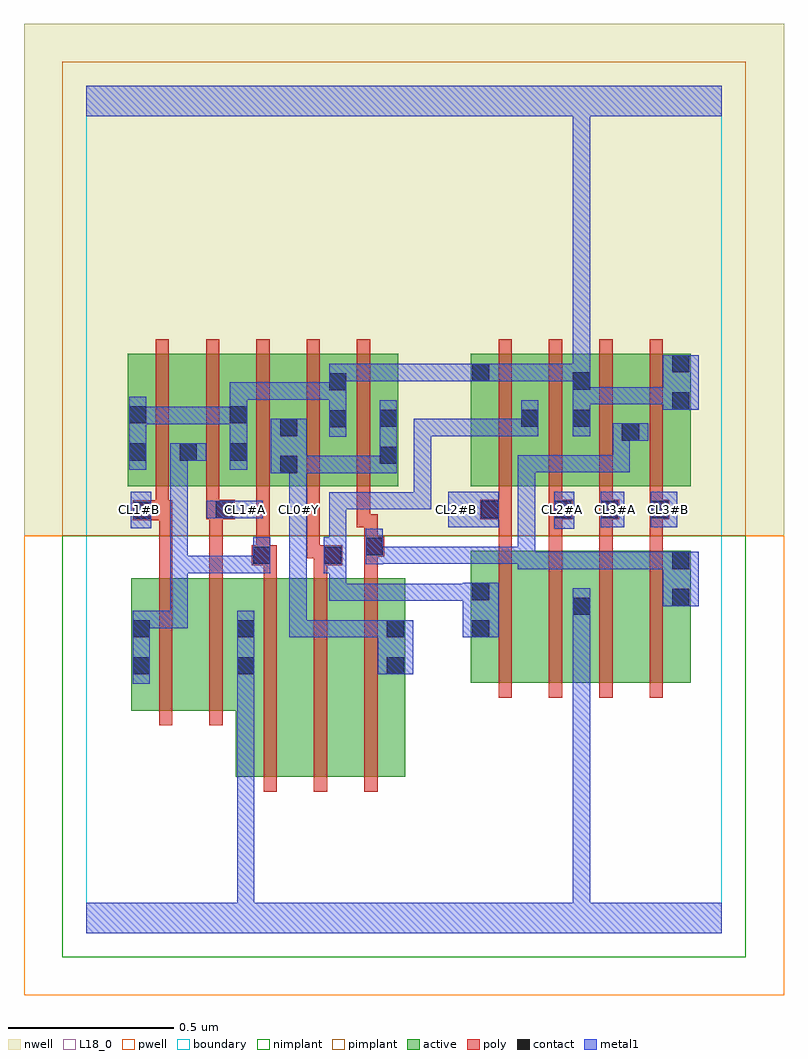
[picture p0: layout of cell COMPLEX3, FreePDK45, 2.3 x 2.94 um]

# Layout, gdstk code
import gdstk
lib = gdstk.Library(unit=1e-6, precision=1e-09)
def R(c, l, rs):  # rectangles x0, y0, x1, y1
    for r in rs: c.add(gdstk.rectangle(r[:2], r[2:], *l))
def A(c, l, x, y, w, h, nx, ny, dx, dy):  # array of equal rectangles
    R(c, l, [(x+i*dx, y+j*dy, x+i*dx+w, y+j*dy+h) for i in range(nx) for j in range(ny)])
active = (1, 0)
pwell = (2, 0)
nwell = (3, 0)
nimplant = (4, 0)
pimplant = (5, 0)
poly = (9, 0)
contact = (10, 0)
metal1 = (11, 0)
L18_0 = (18, 0)
boundary = (235, 0)

complex3 = lib.new_cell('COMPLEX3')
A(complex3, active, 0.126, 1.35, 0.212, 0.4, 3, 1, 0.152, 0)
A(complex3, active, 0.126, 1.35, 0.06, 0.294, 4, 1, 0.152, 0)
R(complex3, active, [(0.452,0.472,0.632,1.072), (0.632,0.472,0.784,1.072), (0.784,0.472,0.964,1.072), (0.904,0.556,0.964,1.072), (0.136,0.672,0.316,1.072), (0.316,0.672,0.512,1.072), (0.452,0.69,0.512,1.072), (0.136,0.756,0.196,1.072), (1.162,0.756,1.222,1.156), (1.162,0.756,1.342,1.156), (1.342,0.756,1.526,1.156), (1.466,0.756,1.526,1.156), (1.466,0.756,1.646,1.156), (1.646,0.756,1.826,1.156), (1.766,0.756,1.826,1.156), (0.582,1.35,0.79,1.75), (0.73,1.35,0.79,1.75), (0.73,1.35,0.942,1.75), (0.882,1.35,0.942,1.644), (1.162,1.35,1.222,1.75), (1.162,1.35,1.37,1.75), (1.31,1.35,1.37,1.644), (1.31,1.35,1.526,1.75), (1.466,1.35,1.674,1.75), (1.466,1.35,1.526,1.698), (1.614,1.35,1.826,1.75), (1.614,1.35,1.674,1.644), (1.766,1.35,1.826,1.75)])
R(complex3, pwell, [(-0.188,-0.188,2.108,1.2)])
R(complex3, nwell, [(-0.188,1.2,2.108,2.748)])
R(complex3, nimplant, [(-0.072,-0.072,1.992,1.2)])
R(complex3, pimplant, [(-0.072,1.2,1.992,2.632)])
A(complex3, poly, 0.536, 0.428, 0.04, 0.688, 3, 1, 0.152, 0)
A(complex3, poly, 1.246, 0.712, 0.04, 0.488, 4, 2, 0.152, 0.594)
A(complex3, poly, 1.246, 1.16, 0.04, 0.13, 4, 1, 0.152, 0)
A(complex3, poly, 1.246, 1.27, 0.04, 0.076, 4, 1, 0.152, 0)
A(complex3, poly, 0.21, 1.306, 0.04, 0.488, 5, 1, 0.152, 0)
R(complex3, poly, [(0.22,0.628,0.26,1.116), (0.372,0.628,0.412,1.116), (0.22,1.076,0.26,1.288), (0.372,1.076,0.412,1.29), (0.536,1.076,0.576,1.152), (0.688,1.076,0.728,1.152), (0.84,1.076,0.88,1.178), (0.5,1.112,0.576,1.172), (0.688,1.112,0.774,1.172), (0.514,1.132,0.554,1.172), (0.514,1.132,0.554,1.172), (0.514,1.132,0.554,1.346), (0.666,1.132,0.728,1.172), (0.666,1.132,0.706,1.346), (0.688,1.132,0.728,1.172), (0.84,1.138,0.9,1.198), (0.84,1.158,0.88,1.266), (0.818,1.226,0.858,1.346), (0.818,1.226,0.88,1.266), (0.14,1.248,0.26,1.308), (0.362,1.25,0.448,1.31), (0.372,1.25,0.412,1.29), (0.372,1.25,0.412,1.29), (1.19,1.25,1.286,1.31), (1.246,1.25,1.286,1.29), (1.246,1.25,1.286,1.29), (1.398,1.25,1.47,1.31), (1.55,1.25,1.61,1.31), (1.702,1.25,1.742,1.29), (1.702,1.25,1.742,1.29), (1.702,1.25,1.762,1.31), (0.21,1.268,0.25,1.308), (0.21,1.268,0.25,1.308), (0.21,1.268,0.25,1.346), (0.362,1.27,0.402,1.346), (1.398,1.27,1.438,1.31), (1.398,1.27,1.438,1.31), (1.55,1.27,1.59,1.31), (1.55,1.27,1.59,1.31)])
A(complex3, contact, 0.13, 1.428, 0.052, 0.052, 3, 1, 0.152, 0)
R(complex3, contact, [(0.14,0.782,0.192,0.834), (0.456,0.782,0.508,0.834), (0.908,0.782,0.96,0.834), (0.14,0.894,0.192,0.946), (0.456,0.894,0.508,0.946), (0.908,0.894,0.96,0.946), (1.166,0.894,1.218,0.946), (1.47,0.962,1.522,1.014), (1.77,0.988,1.822,1.04), (1.166,1.006,1.218,1.058), (1.77,1.1,1.822,1.152), (0.504,1.116,0.556,1.168), (0.718,1.116,0.77,1.168), (0.844,1.142,0.896,1.194), (0.144,1.252,0.196,1.304), (0.392,1.254,0.444,1.306), (1.194,1.254,1.246,1.306), (1.414,1.254,1.466,1.306), (1.554,1.254,1.606,1.306), (1.706,1.254,1.758,1.306), (0.586,1.39,0.638,1.442), (0.886,1.418,0.938,1.47), (1.618,1.488,1.67,1.54), (0.586,1.502,0.638,1.554), (0.734,1.528,0.786,1.58), (0.886,1.53,0.938,1.582), (1.314,1.53,1.366,1.582), (1.47,1.53,1.522,1.582), (0.13,1.54,0.182,1.592), (0.434,1.54,0.486,1.592), (1.77,1.582,1.822,1.634), (0.734,1.64,0.786,1.692), (1.47,1.642,1.522,1.694), (1.166,1.668,1.218,1.72), (1.77,1.694,1.822,1.746)])
R(complex3, metal1, [(0,0,1.92,0.092), (0.456,0.04,0.508,0.092), (0.456,0.04,0.508,0.092), (0.456,0.04,0.508,0.092), (0.456,0.04,0.508,0.092), (0.456,0.04,0.508,0.092), (0.456,0.04,0.508,0.092), (0.456,0.04,0.508,0.092), (0.456,0.04,0.508,0.092), (0.456,0.04,0.508,0.806), (1.47,0.04,1.522,0.092), (1.47,0.04,1.522,0.092), (1.47,0.04,1.522,0.092), (1.47,0.04,1.522,0.092), (1.47,0.04,1.522,0.092), (1.47,0.04,1.522,0.092), (1.47,0.04,1.522,0.092), (1.47,0.04,1.522,0.092), (1.47,0.04,1.522,0.092), (1.47,0.04,1.522,0.092), (1.47,0.04,1.522,0.092), (1.47,0.04,1.522,0.092), (1.47,0.04,1.522,0.986), (0.14,0.754,0.192,0.974), (0.456,0.754,0.508,0.974), (0.88,0.782,0.988,0.946), (0.614,0.894,0.666,0.946), (0.614,0.894,0.666,0.946), (0.614,0.894,0.666,0.946), (0.614,0.894,0.776,0.946), (0.614,0.894,0.666,1.278), (0.724,0.894,0.776,0.946), (0.724,0.894,0.776,0.946), (0.724,0.894,0.776,0.946), (0.724,0.894,0.932,0.946), (0.88,0.894,0.932,0.946), (0.88,0.894,0.932,0.946), (1.138,0.894,1.246,1.058), (0.14,0.922,0.192,0.974), (0.14,0.922,0.192,0.974), (0.14,0.922,0.306,0.974), (0.254,0.922,0.306,0.974), (0.254,0.922,0.306,1.14), (1.47,0.934,1.522,1.042), (1.742,0.988,1.85,1.152), (0.734,1.004,0.786,1.056), (0.734,1.004,0.896,1.056), (0.734,1.004,0.786,1.196), (0.844,1.004,0.896,1.056), (0.844,1.004,0.896,1.056), (0.844,1.004,0.896,1.056), (0.844,1.004,1.19,1.056), (0.254,1.088,0.306,1.14), (0.254,1.088,0.306,1.14), (0.254,1.088,0.306,1.14), (0.254,1.088,0.306,1.14), (0.254,1.088,0.306,1.14), (0.254,1.088,0.472,1.14), (0.254,1.088,0.306,1.48), (0.42,1.088,0.472,1.14), (0.42,1.088,0.556,1.14), (0.504,1.088,0.556,1.196), (0.718,1.088,0.77,1.196), (1.304,1.1,1.356,1.152), (1.304,1.1,1.412,1.152), (1.304,1.1,1.356,1.168), (1.36,1.1,1.412,1.152), (1.36,1.1,1.532,1.152), (1.48,1.1,1.532,1.152), (1.48,1.1,1.532,1.152), (1.48,1.1,1.532,1.152), (1.48,1.1,1.642,1.152), (1.59,1.1,1.642,1.152), (1.59,1.1,1.794,1.152), (1.742,1.1,1.794,1.152), (1.742,1.1,1.794,1.152), (0.844,1.114,0.896,1.222), (0.844,1.116,0.896,1.168), (0.844,1.116,0.896,1.168), (0.844,1.116,1.152,1.168), (1.1,1.116,1.152,1.168), (1.1,1.116,1.152,1.168), (1.1,1.116,1.152,1.168), (1.1,1.116,1.356,1.168), (1.304,1.116,1.356,1.168), (1.304,1.116,1.356,1.444), (0.718,1.144,0.786,1.196), (0.734,1.144,0.786,1.196), (0.734,1.144,0.786,1.332), (1.414,1.222,1.474,1.334), (0.134,1.224,0.196,1.334), (0.614,1.226,0.666,1.334), (1.094,1.226,1.246,1.334), (1.554,1.226,1.626,1.334), (1.706,1.226,1.786,1.334), (0.364,1.254,0.534,1.306), (0.734,1.28,0.786,1.332), (0.734,1.28,0.896,1.332), (0.844,1.28,0.896,1.332), (0.844,1.28,0.896,1.332), (0.844,1.28,0.896,1.332), (0.844,1.28,1.042,1.332), (0.99,1.28,1.042,1.332), (0.99,1.28,1.042,1.554), (0.614,1.282,0.666,1.334), (0.614,1.282,0.666,1.334), (0.614,1.282,0.666,1.442), (0.558,1.39,0.666,1.554), (0.614,1.39,0.666,1.442), (0.614,1.39,0.666,1.442), (0.614,1.39,0.786,1.442), (0.734,1.39,0.786,1.442), (0.734,1.39,0.932,1.442), (0.88,1.39,0.932,1.442), (0.88,1.39,0.938,1.442), (0.886,1.39,0.938,1.61), (1.304,1.392,1.356,1.444), (1.304,1.392,1.412,1.444), (1.36,1.392,1.412,1.444), (1.36,1.392,1.522,1.444), (1.47,1.392,1.522,1.444), (1.47,1.392,1.642,1.444), (1.59,1.392,1.642,1.444), (1.59,1.392,1.642,1.444), (1.59,1.392,1.642,1.444), (1.59,1.392,1.642,1.54), (0.13,1.4,0.182,1.62), (0.434,1.4,0.486,1.62), (0.254,1.428,0.362,1.48), (1.59,1.488,1.698,1.54), (0.734,1.5,0.786,1.72), (0.99,1.502,1.042,1.554), (0.99,1.502,1.302,1.554), (1.25,1.502,1.302,1.554), (1.25,1.502,1.366,1.554), (1.314,1.502,1.366,1.61), (1.47,1.502,1.522,1.722), (0.13,1.538,0.182,1.59), (0.13,1.538,0.182,1.59), (0.13,1.538,0.306,1.59), (0.254,1.538,0.306,1.59), (0.254,1.538,0.306,1.59), (0.254,1.538,0.306,1.59), (0.254,1.538,0.486,1.59), (0.434,1.568,0.486,1.62), (0.434,1.568,0.486,1.664), (1.742,1.582,1.85,1.746), (1.47,1.598,1.522,1.65), (1.47,1.598,1.522,1.65), (1.47,1.598,1.642,1.65), (1.59,1.598,1.642,1.65), (1.59,1.598,1.794,1.65), (1.742,1.598,1.794,1.65), (1.742,1.598,1.794,1.65), (0.434,1.612,0.666,1.664), (0.614,1.612,0.666,1.664), (0.614,1.612,0.786,1.664), (0.734,1.612,0.786,1.664), (0.734,1.612,0.786,1.664), (0.734,1.668,0.932,1.72), (0.88,1.668,0.932,1.72), (0.88,1.668,0.932,1.72), (0.88,1.668,0.932,1.72), (0.88,1.668,1.19,1.72), (1.138,1.668,1.246,1.72), (1.194,1.668,1.246,1.72), (1.194,1.668,1.246,1.72), (1.194,1.668,1.412,1.72), (1.36,1.668,1.412,1.72), (1.36,1.668,1.412,1.72), (1.36,1.668,1.412,1.72), (1.36,1.668,1.522,1.72), (1.47,1.67,1.522,1.722), (1.47,1.67,1.522,1.722), (1.47,1.67,1.522,1.722), (1.47,1.67,1.522,1.722), (1.47,1.67,1.522,1.722), (1.47,1.67,1.522,1.722), (1.47,1.67,1.522,1.722), (1.47,1.67,1.522,1.722), (1.47,1.67,1.522,1.722), (1.47,1.67,1.522,1.722), (1.47,1.67,1.522,1.722), (1.47,1.67,1.522,1.722), (1.47,1.67,1.522,1.722), (1.47,1.67,1.522,1.722), (1.47,1.67,1.522,1.722), (1.47,1.67,1.522,1.722), (1.47,1.67,1.522,2.52), (0,2.468,1.92,2.56)])
A(complex3, L18_0, 1.414, 1.254, 0.052, 0.052, 3, 1, 0.16, 0)
R(complex3, L18_0, [(0,0,1.92,0.092), (0.456,0.04,0.508,0.092), (0.456,0.04,0.508,0.092), (0.456,0.04,0.508,0.092), (0.456,0.04,0.508,0.092), (0.456,0.04,0.508,0.092), (0.456,0.04,0.508,0.092), (0.456,0.04,0.508,0.092), (0.456,0.04,0.508,0.092), (0.456,0.04,0.508,0.806), (1.47,0.04,1.522,0.092), (1.47,0.04,1.522,0.092), (1.47,0.04,1.522,0.092), (1.47,0.04,1.522,0.092), (1.47,0.04,1.522,0.092), (1.47,0.04,1.522,0.092), (1.47,0.04,1.522,0.092), (1.47,0.04,1.522,0.092), (1.47,0.04,1.522,0.092), (1.47,0.04,1.522,0.092), (1.47,0.04,1.522,0.092), (1.47,0.04,1.522,0.092), (1.47,0.04,1.522,0.986), (0.456,0.754,0.508,0.974), (0.88,0.782,0.988,0.946), (0.614,0.894,0.666,0.946), (0.614,0.894,0.666,0.946), (0.614,0.894,0.666,0.946), (0.614,0.894,0.666,1.278), (0.614,0.894,0.776,0.946), (0.724,0.894,0.776,0.946), (0.724,0.894,0.776,0.946), (0.724,0.894,0.776,0.946), (0.724,0.894,0.932,0.946), (0.88,0.894,0.932,0.946), (0.88,0.894,0.932,0.946), (1.47,0.934,1.522,1.042), (1.414,1.222,1.474,1.334), (0.134,1.224,0.196,1.334), (0.614,1.226,0.666,1.334), (1.094,1.226,1.246,1.334), (1.554,1.226,1.626,1.334), (1.706,1.226,1.786,1.334), (0.134,1.254,0.186,1.306), (0.364,1.254,0.534,1.306), (0.454,1.254,0.506,1.306), (0.614,1.254,0.666,1.306), (1.094,1.254,1.146,1.306), (0.614,1.282,0.666,1.334), (0.614,1.282,0.666,1.334), (0.614,1.282,0.666,1.442), (0.558,1.39,0.666,1.554), (0.614,1.39,0.666,1.442), (0.614,1.39,0.666,1.442), (0.614,1.39,0.786,1.442), (0.734,1.39,0.786,1.442), (0.734,1.39,0.932,1.442), (0.88,1.39,0.932,1.442), (0.88,1.39,0.938,1.442), (0.886,1.39,0.938,1.61), (0.13,1.4,0.182,1.62), (0.434,1.4,0.486,1.62), (0.734,1.5,0.786,1.72), (1.47,1.502,1.522,1.722), (0.13,1.538,0.182,1.59), (0.13,1.538,0.182,1.59), (0.13,1.538,0.306,1.59), (0.254,1.538,0.306,1.59), (0.254,1.538,0.306,1.59), (0.254,1.538,0.306,1.59), (0.254,1.538,0.486,1.59), (0.434,1.568,0.486,1.62), (0.434,1.568,0.486,1.664), (1.742,1.582,1.85,1.746), (1.47,1.598,1.522,1.65), (1.47,1.598,1.522,1.65), (1.47,1.598,1.642,1.65), (1.59,1.598,1.642,1.65), (1.59,1.598,1.794,1.65), (1.742,1.598,1.794,1.65), (1.742,1.598,1.794,1.65), (0.434,1.612,0.666,1.664), (0.614,1.612,0.666,1.664), (0.614,1.612,0.786,1.664), (0.734,1.612,0.786,1.664), (0.734,1.612,0.786,1.664), (0.734,1.668,0.932,1.72), (0.88,1.668,0.932,1.72), (0.88,1.668,0.932,1.72), (0.88,1.668,0.932,1.72), (0.88,1.668,1.19,1.72), (1.138,1.668,1.246,1.72), (1.194,1.668,1.246,1.72), (1.194,1.668,1.246,1.72), (1.194,1.668,1.412,1.72), (1.36,1.668,1.412,1.72), (1.36,1.668,1.412,1.72), (1.36,1.668,1.412,1.72), (1.36,1.668,1.522,1.72), (1.47,1.67,1.522,1.722), (1.47,1.67,1.522,1.722), (1.47,1.67,1.522,1.722), (1.47,1.67,1.522,1.722), (1.47,1.67,1.522,1.722), (1.47,1.67,1.522,1.722), (1.47,1.67,1.522,1.722), (1.47,1.67,1.522,1.722), (1.47,1.67,1.522,1.722), (1.47,1.67,1.522,1.722), (1.47,1.67,1.522,1.722), (1.47,1.67,1.522,1.722), (1.47,1.67,1.522,1.722), (1.47,1.67,1.522,1.722), (1.47,1.67,1.522,1.722), (1.47,1.67,1.522,1.722), (1.47,1.67,1.522,2.52), (0,2.468,1.92,2.56)])
R(complex3, boundary, [(0,0,1.92,2.56)])
complex3.add(gdstk.Label('CL0#Y', (0.64,1.28), layer=11, texttype=0))
complex3.add(gdstk.Label('CL1#A', (0.48,1.28), layer=11, texttype=0))
complex3.add(gdstk.Label('CL1#B', (0.16,1.28), layer=11, texttype=0))
complex3.add(gdstk.Label('CL2#A', (1.44,1.28), layer=11, texttype=0))
complex3.add(gdstk.Label('CL2#B', (1.12,1.28), layer=11, texttype=0))
complex3.add(gdstk.Label('CL3#A', (1.6,1.28), layer=11, texttype=0))
complex3.add(gdstk.Label('CL3#B', (1.76,1.28), layer=11, texttype=0))

lib.write_gds('COMPLEX3.gds')
